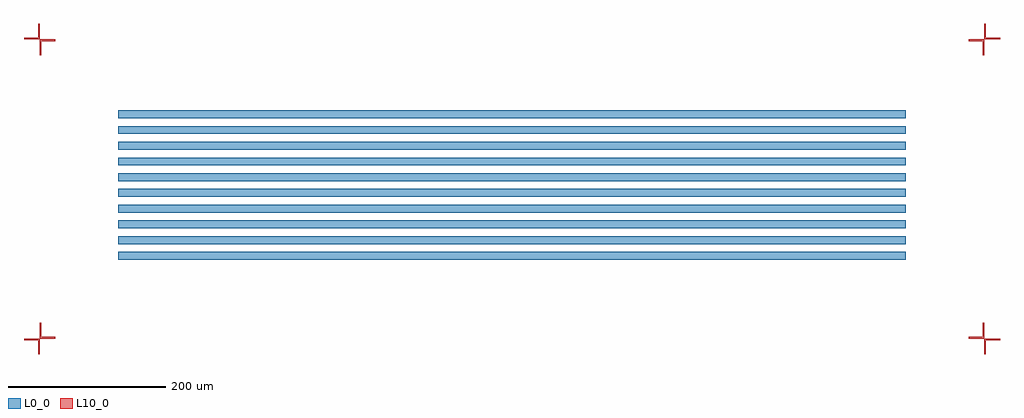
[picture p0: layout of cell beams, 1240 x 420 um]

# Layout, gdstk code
from math import pi, radians
import gdstk
lib = gdstk.Library(unit=1e-6, precision=1e-09)
def R(c, l, rs):  # rectangles x0, y0, x1, y1
    for r in rs: c.add(gdstk.rectangle(r[:2], r[2:], *l))
L0_0 = (0, 0)
L10_0 = (10, 0)

beam_rect = lib.new_cell('beam_rect')
R(beam_rect, L0_0, [(0,0,1000,10)])

mark = lib.new_cell('mark')
R(mark, L10_0, [(-2,-20,0,0), (-20,-2,0,0), (0,0,20,2), (0,0,2,20)])

beams = lib.new_cell('beams')
beams.add(gdstk.Reference(beam_rect, (0,0)))
beams.add(gdstk.Reference(beam_rect, (0,20)))
beams.add(gdstk.Reference(beam_rect, (0,40)))
beams.add(gdstk.Reference(beam_rect, (0,60)))
beams.add(gdstk.Reference(beam_rect, (0,80)))
beams.add(gdstk.Reference(beam_rect, (0,100)))
beams.add(gdstk.Reference(beam_rect, (0,120)))
beams.add(gdstk.Reference(beam_rect, (0,140)))
beams.add(gdstk.Reference(beam_rect, (0,160)))
beams.add(gdstk.Reference(beam_rect, (0,180)))
beams.add(gdstk.Reference(mark, (-100,-100)))
beams.add(gdstk.Reference(mark, (-100,280), rotation=pi/2))
beams.add(gdstk.Reference(mark, (1100,-100), rotation=pi/2))
beams.add(gdstk.Reference(mark, (1100,280)))

lib.write_gds('beams.gds')
